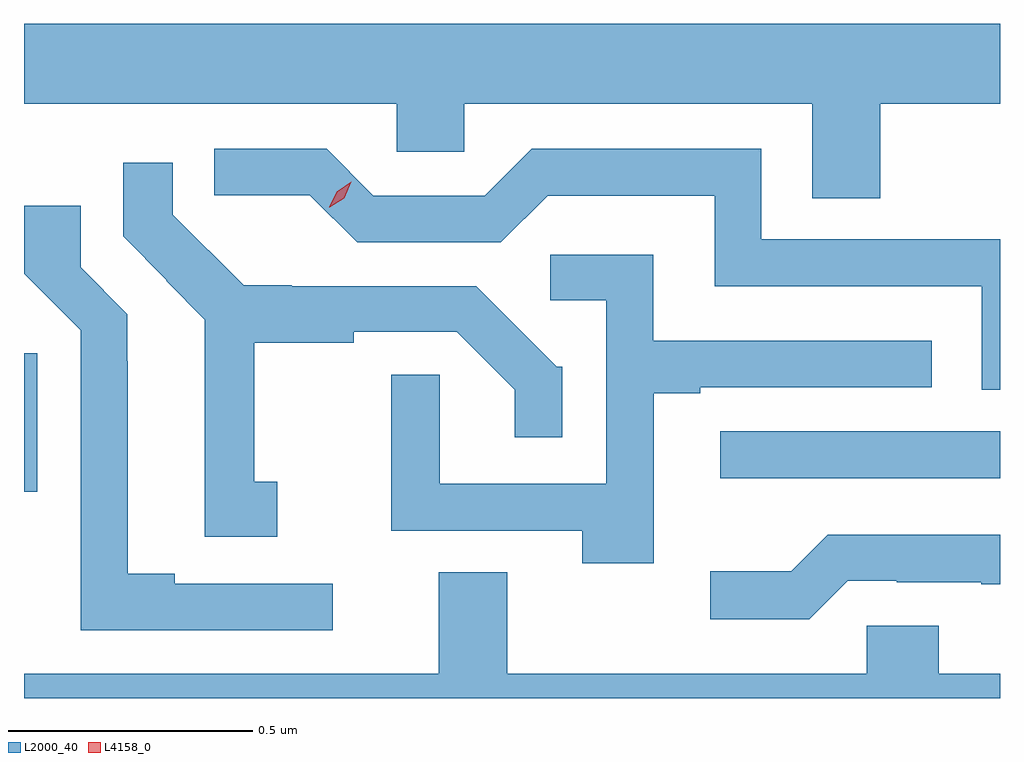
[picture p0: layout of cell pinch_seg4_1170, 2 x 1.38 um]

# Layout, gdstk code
import gdstk
lib = gdstk.Library(unit=1e-6, precision=1e-09)
def R(c, l, rs):  # rectangles x0, y0, x1, y1
    for r in rs: c.add(gdstk.rectangle(r[:2], r[2:], *l))
def P(c, l, *ps):  # polygons
    for p in ps: c.add(gdstk.Polygon(p, *l))
L2000_40 = (2000, 40)
L4158_0 = (4158, 0)

pinch_seg4_1170 = lib.new_cell('pinch_seg4_1170')
R(pinch_seg4_1170, L2000_40, [(470.524,782.705,470.551,782.989), (471.951,782.733,472.524,782.829)])
P(pinch_seg4_1170, L2000_40, [(472.279,783.5),(472.524,783.5),(472.524,783.664),(470.524,783.664),(470.524,783.5),(471.288,783.5),(471.288,783.402),(471.426,783.402),(471.426,783.5),(472.139,783.5),(472.139,783.307),(472.279,783.307)],
  [(472.524,783.222),(472.035,783.222),(472.035,783.408),(471.564,783.408),(471.468,783.312),(471.24,783.312),(471.144,783.408),(470.914,783.408),(470.914,783.313),(471.11,783.313),(471.207,783.216),(471.501,783.216),(471.597,783.312),(471.939,783.312),(471.939,783.126),(472.487,783.126),(472.487,782.914),(472.524,782.914)],
  [(471.043,782.726),(470.996,782.726),(470.996,783.01),(471.2,783.01),(471.2,783.033),(471.411,783.033),(471.53,782.914),(471.53,782.817),(471.627,782.817),(471.627,782.961),(471.616,782.961),(471.451,783.126),(471.073,783.126),(471.073,783.128),(470.974,783.128),(470.829,783.273),(470.829,783.379),(470.727,783.379),(470.727,783.229),(470.817,783.138),(470.816,783.137),(470.894,783.058),(470.894,782.613),(471.043,782.613)],
  [(471.157,782.517),(470.833,782.517),(470.833,782.537),(470.737,782.537),(470.737,782.972),(470.736,782.972),(470.736,783.069),(470.64,783.165),(470.64,783.291),(470.524,783.291),(470.524,783.152),(470.64,783.036),(470.64,782.421),(471.157,782.421)],
  [(471.814,782.907),(471.91,782.907),(471.91,782.919),(472.384,782.919),(472.384,783.015),(471.813,783.015),(471.813,783.191),(471.602,783.191),(471.602,783.097),(471.717,783.097),(471.717,782.721),(471.376,782.721),(471.376,782.945),(471.277,782.945),(471.277,782.625),(471.668,782.625),(471.668,782.559),(471.814,782.559)],
  [(472.212,782.523),(472.312,782.523),(472.312,782.52),(472.486,782.52),(472.486,782.516),(472.524,782.516),(472.524,782.617),(472.171,782.617),(472.096,782.542),(471.93,782.542),(471.93,782.444),(472.133,782.444)],
  [(472.524,782.332),(472.398,782.332),(472.398,782.43),(472.251,782.43),(472.251,782.332),(471.514,782.332),(471.514,782.54),(471.374,782.54),(471.374,782.332),(470.524,782.332),(470.524,782.282),(472.524,782.282)])
P(pinch_seg4_1170, L4158_0, [(471.15,783.288),(471.15,783.288),(471.165,783.32),(471.195,783.34),(471.195,783.34),(471.195,783.34),(471.18,783.307),(471.151,783.288)])

lib.write_gds('pinch_seg4_1170.gds')
